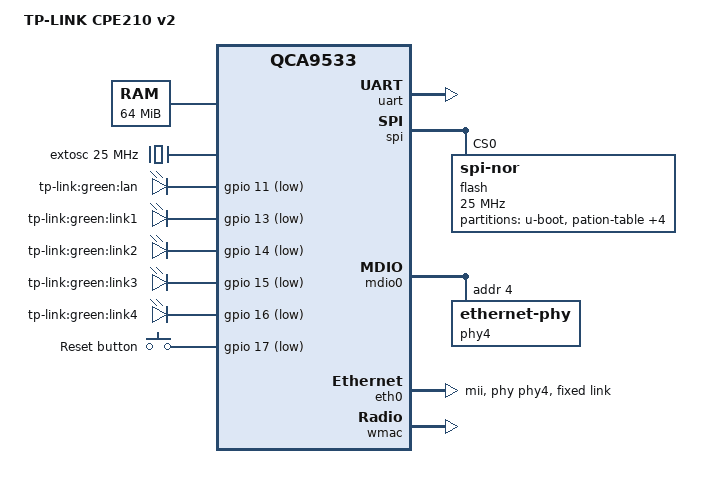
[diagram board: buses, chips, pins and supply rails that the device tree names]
// SPDX-License-Identifier: GPL-2.0-or-later OR MIT
/dts-v1/;

#include <dt-bindings/gpio/gpio.h>
#include <dt-bindings/input/input.h>

#include "qca9533.dtsi"

/ {
	compatible = "tplink,tl-cpe-210-v2", "qca,qca9533";
	model = "TP-LINK CPE210 v2";

	memory@0 {
		device_type = "memory";
		reg = <0x0 0x4000000>;
	};

	extosc: ref {
		compatible = "fixed-clock";
		#clock-cells = <0>;
		clock-output-names = "ref";
		clock-frequency = <25000000>;
	};

	chosen {
		bootargs = "console=ttyS0,115200n8";
	};

	leds {
		compatible = "gpio-leds";

		lan {
			label = "tp-link:green:lan";
			gpios = <&gpio 11 GPIO_ACTIVE_LOW>;
			default-state = "off";
		};

		link1 {
			label = "tp-link:green:link1";
			gpios = <&gpio 13 GPIO_ACTIVE_LOW>;
			default-state = "off";
		};

		link2 {
			label = "tp-link:green:link2";
			gpios = <&gpio 14 GPIO_ACTIVE_LOW>;
			default-state = "off";
		};

		link3 {
			label = "tp-link:green:link3";
			gpios = <&gpio 15 GPIO_ACTIVE_LOW>;
			default-state = "off";
		};

		link4 {
			label = "tp-link:green:link4";
			gpios = <&gpio 16 GPIO_ACTIVE_LOW>;
			default-state = "off";
		};
	};

	keys {
		compatible = "gpio-keys";
		#address-cells = <1>;
		#size-cells = <0>;

		button0 {
			label = "Reset button";
			linux,code = <KEY_RESTART>;
			gpios = <&gpio 17 GPIO_ACTIVE_LOW>;
			debounce-interval = <60>;
		};
	};
};

&pll {
	clocks = <&extosc>;
};

&uart {
	status = "okay";
};

&spi {
	status = "okay";
	num-cs = <1>;

	flash@0 {
		#address-cells = <1>;
		#size-cells = <1>;
		compatible = "jedec,spi-nor";
		reg = <0>;
		spi-max-frequency = <25000000>;

		partitions {
			compatible = "fixed-partitions";
			#address-cells = <1>;
			#size-cells = <1>;

			uboot: partition@0 {
				label = "u-boot";
				reg = <0x000000 0x020000>;
				read-only;
			};

			partition@20000 {
				label = "pation-table";
				reg = <0x020000 0x10000>;
				read-only;
			};

			info: partition@30000 {
				label = "product-info";
				reg = <0x030000 0x10000>;
				read-only;
			};

			partition@40000 {
				label = "firmware";
				reg = <0x040000 0x780000>;
			};

			partition@7c0000 {
				label = "config";
				reg = <0x7c0000 0x30000>;
				read-only;
			};

			ART: partition@7f0000 {
				label = "ART";
				reg = <0x7f0000 0x10000>;
				read-only;
			};
		};
	};
};

&mdio0 {
	status = "okay";

	phy-mask = <4>;
	phy4: ethernet-phy@4 {
		reg = <4>;
	};
};

&eth0 {
	status = "okay";

	mtd-mac-address = <&info 0x8>;
	phy-handle = <&phy4>;
	phy-mode = "mii";

	fixed-link {
		speed = <100>;
		full-duplex;
	};
};

&wmac {
	status = "okay";
	mtd-cal-data = <&ART 0x1000>;
	mtd-mac-address = <&info 0x8>;
};

